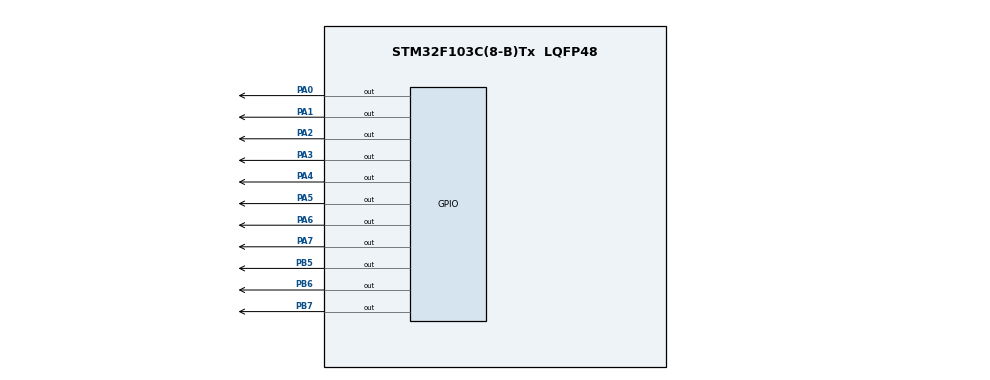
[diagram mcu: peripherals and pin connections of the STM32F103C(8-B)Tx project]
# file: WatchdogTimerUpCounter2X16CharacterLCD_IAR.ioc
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IWDG.Prescaler=IWDG_PRESCALER_128
IWDG.Reload=2047
Mcu.Family=STM32F1
Mcu.Name=STM32F103C(8-B)Tx
Mcu.Package=LQFP48
NVIC.PriorityGroup=NVIC_PRIORITYGROUP_4
PA0-WKUP.Signal=GPIO_Output
PA1.Signal=GPIO_Output
PA13.Mode=Serial_Wire
PA13.Signal=SYS_JTMS-SWDIO
PA14.Mode=Serial_Wire
PA14.Signal=SYS_JTCK-SWCLK
PA2.Signal=GPIO_Output
PA3.Signal=GPIO_Output
PA4.Signal=GPIO_Output
PA5.Signal=GPIO_Output
PA6.Signal=GPIO_Output
PA7.Signal=GPIO_Output
PB5.Signal=GPIO_Output
PB6.Signal=GPIO_Output
PB7.Signal=GPIO_Output
PD0-OSC_IN.Mode=HSE-External-Oscillator
PD0-OSC_IN.Signal=RCC_OSC_IN
PD1-OSC_OUT.Mode=HSE-External-Oscillator
PD1-OSC_OUT.Signal=RCC_OSC_OUT
ProjectManager.HeapSize=0x200
ProjectManager.StackSize=0x400
ProjectManager.TargetToolchain=EWARM V8.32
RCC.APB1Freq_Value=8000000
RCC.APB2Freq_Value=8000000
RCC.SYSCLKSource=RCC_SYSCLKSOURCE_HSE
VP_IWDG_VS_IWDG.Mode=IWDG_Activate
board=custom

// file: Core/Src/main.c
/* USER CODE BEGIN Header */
/**
  ******************************************************************************
  * @file           : main.c
  * @brief          : Main program body
  ******************************************************************************
  * @attention
  *
  * Copyright (c) 2023 STMicroelectronics.
  * All rights reserved.
  *
  * This software is licensed under terms that can be found in the LICENSE file
  * in the root directory of this software component.
  * If no LICENSE file comes with this software, it is provided AS-IS.
  *
  ******************************************************************************
  */
/* USER CODE END Header */
#include "main.h"

/* USER CODE BEGIN Includes */

#include "LCD/lcd.h"
#include <stdio.h>

/* USER CODE END Includes */

IWDG_HandleTypeDef hiwdg;

void SystemClock_Config(void);
static void MX_GPIO_Init(void);
static void MX_IWDG_Init(void);

int main(void)
{
  /* USER CODE BEGIN 1 */

  char str[17];
  int i = 0;

  /* USER CODE END 1 */

  /* MCU Configuration--------------------------------------------------------*/

  /* Reset of all peripherals, Initializes the Flash interface and the Systick. */
  HAL_Init();

  /* Configure the system clock */
  SystemClock_Config();

  /* Initialize all configured peripherals */
  MX_GPIO_Init();
  MX_IWDG_Init();
  /* USER CODE BEGIN 2 */

  lcd_init();
  lcd_clear();

  lcd_gotoxy(0,0);
  lcd_puts("  dibadigital  ");
  HAL_Delay(2000);
  lcd_clear();

  /* USER CODE END 2 */

  /* Infinite loop */
  /* USER CODE BEGIN WHILE */
  while (1)
  {
    sprintf(str,"Value = %03d",i);
    lcd_gotoxy(0,0);
    lcd_puts(str);

    i++;
    if(i >= 1000)
      i = 0;

    HAL_Delay(200);
    HAL_IWDG_Refresh(&hiwdg);

    /* USER CODE END WHILE */

  }
}

void SystemClock_Config(void)
{
  RCC_OscInitTypeDef RCC_OscInitStruct = {0};
  RCC_ClkInitTypeDef RCC_ClkInitStruct = {0};

  /** Initializes the RCC Oscillators according to the specified parameters
  * in the RCC_OscInitTypeDef structure.
  */
  RCC_OscInitStruct.OscillatorType = RCC_OSCILLATORTYPE_LSI|RCC_OSCILLATORTYPE_HSE;
  RCC_OscInitStruct.HSEState = RCC_HSE_ON;
  RCC_OscInitStruct.LSIState = RCC_LSI_ON;
  RCC_OscInitStruct.PLL.PLLState = RCC_PLL_NONE;
  if (HAL_RCC_OscConfig(&RCC_OscInitStruct) != HAL_OK)
  {
    Error_Handler();
  }

  /** Initializes the CPU, AHB and APB buses clocks
  */
  RCC_ClkInitStruct.ClockType = RCC_CLOCKTYPE_HCLK|RCC_CLOCKTYPE_SYSCLK
                              |RCC_CLOCKTYPE_PCLK1|RCC_CLOCKTYPE_PCLK2;
  RCC_ClkInitStruct.SYSCLKSource = RCC_SYSCLKSOURCE_HSE;
  RCC_ClkInitStruct.AHBCLKDivider = RCC_SYSCLK_DIV1;
  RCC_ClkInitStruct.APB1CLKDivider = RCC_HCLK_DIV1;
  RCC_ClkInitStruct.APB2CLKDivider = RCC_HCLK_DIV1;

  if (HAL_RCC_ClockConfig(&RCC_ClkInitStruct, FLASH_LATENCY_0) != HAL_OK)
  {
    Error_Handler();
  }
}

static void MX_IWDG_Init(void)
{

  hiwdg.Instance = IWDG;
  hiwdg.Init.Prescaler = IWDG_PRESCALER_128;
  hiwdg.Init.Reload = 2047;
  if (HAL_IWDG_Init(&hiwdg) != HAL_OK)
  {
    Error_Handler();
  }

}

static void MX_GPIO_Init(void)
{
  GPIO_InitTypeDef GPIO_InitStruct = {0};

  /* GPIO Ports Clock Enable */
  __HAL_RCC_GPIOD_CLK_ENABLE();
  __HAL_RCC_GPIOA_CLK_ENABLE();
  __HAL_RCC_GPIOB_CLK_ENABLE();

  /*Configure GPIO pin Output Level */
  HAL_GPIO_WritePin(GPIOA, GPIO_PIN_0|GPIO_PIN_1|GPIO_PIN_2|GPIO_PIN_3
                          |GPIO_PIN_4|GPIO_PIN_5|GPIO_PIN_6|GPIO_PIN_7, GPIO_PIN_RESET);

  /*Configure GPIO pin Output Level */
  HAL_GPIO_WritePin(GPIOB, GPIO_PIN_5|GPIO_PIN_6|GPIO_PIN_7, GPIO_PIN_RESET);

  /*Configure GPIO pins : PA0 PA1 PA2 PA3
                           PA4 PA5 PA6 PA7 */
  GPIO_InitStruct.Pin = GPIO_PIN_0|GPIO_PIN_1|GPIO_PIN_2|GPIO_PIN_3
                          |GPIO_PIN_4|GPIO_PIN_5|GPIO_PIN_6|GPIO_PIN_7;
  GPIO_InitStruct.Mode = GPIO_MODE_OUTPUT_PP;
  GPIO_InitStruct.Pull = GPIO_NOPULL;
  GPIO_InitStruct.Speed = GPIO_SPEED_FREQ_LOW;
  HAL_GPIO_Init(GPIOA, &GPIO_InitStruct);

  /*Configure GPIO pins : PB5 PB6 PB7 */
  GPIO_InitStruct.Pin = GPIO_PIN_5|GPIO_PIN_6|GPIO_PIN_7;
  GPIO_InitStruct.Mode = GPIO_MODE_OUTPUT_PP;
  GPIO_InitStruct.Pull = GPIO_NOPULL;
  GPIO_InitStruct.Speed = GPIO_SPEED_FREQ_LOW;
  HAL_GPIO_Init(GPIOB, &GPIO_InitStruct);

}

void Error_Handler(void)
{
  __disable_irq();
  while (1)
  {
  }
}
